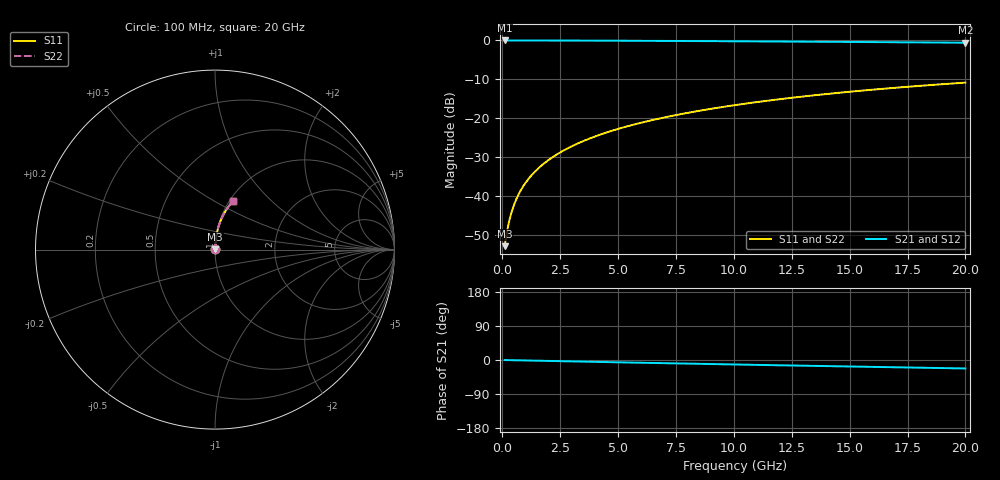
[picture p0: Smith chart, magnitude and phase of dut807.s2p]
! Touchstone file exported from HFSS 2024.1.0
!  File:  C:/UserFiles/LocalFiles/RDL_TSV_Batchsim/temp_RDL_bottom_807_1779862163.aedt
!  Generated:  02:12:08 PM May 27, 2026
!  Design:  RDL_bottom
!  Project:  temp_RDL_bottom_807_1779862163
!  Setup:  Setup1
!  Solution:  Sweep
! Variables:
!  dtsv = 10.80580581um
!  hbump = 3um
!  htsv = 53.53um
!  ldown = 243.13um
!  lrdl = 100um
!  p = 40
!  p1 = 54.78um
!  rhole = 1um
!  t = 450um
!  tdown = 4.04um
!  trdl = 3.915915916um
!  wdown = 13.75um
!  wrdl = 20um
# GHz S MA R 50.000000
! Terminal data exported
! Port[1] = RDL1_T1
! Port[2] = RDL1_T2
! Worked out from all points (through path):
!   200 points, 100 MHz to 20 GHz, reference 50 ohm
!   highest |S21| = -0.01 dB at 100 MHz (marker M1); lowest = -0.6 dB at 20 GHz (marker M2)
!   group delay of S21, straight-line fit = 3.09 ps
!   lowest |S11| = -53.0 dB at 100 MHz (marker M3), VSWR 1.00, Z = 50.2 + j0.15 ohm
!   |S11| at or under -10 dB: start of sweep to end of sweep
!   |S22| runs from -53.0 to -10.9 dB; largest |S21 - S12| = 4e-15
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0.1  0.002249 41.5  0.9983 -0.1  0.9983 -0.1  0.002249 41.5
! Gamma 0 0 0 0
! Port Impedance 50 0 50 0
0.2  0.003432 60.0  0.9983 -0.3  0.9983 -0.3  0.003432 60.0
0.3  0.004774 68.4  0.9982 -0.4  0.9982 -0.4  0.004774 68.4
0.4  0.006162 72.9  0.9982 -0.5  0.9982 -0.5  0.006162 72.9
0.5  0.007564 75.8  0.9981 -0.6  0.9981 -0.6  0.007564 75.8
0.6  0.008973 77.7  0.998 -0.8  0.998 -0.8  0.008973 77.7
0.8  0.0118 80.3  0.9979 -1.0  0.9979 -1.0  0.0118 80.3
1.1  0.01607 82.4  0.9977 -1.4  0.9977 -1.4  0.01607 82.4
1.5  0.02178 83.8  0.9973 -1.9  0.9973 -1.9  0.02178 83.8
1.8  0.02608 84.4  0.997 -2.2  0.997 -2.2  0.02608 84.4
2.1  0.0304 84.7  0.9966 -2.6  0.9966 -2.6  0.0304 84.7
2.7  0.03905 85.1  0.9957 -3.4  0.9957 -3.4  0.03905 85.1
3.5  0.05065 85.1  0.9943 -4.3  0.9943 -4.3  0.05065 85.1
4.2  0.06085 84.8  0.9927 -5.2  0.9927 -5.2  0.06085 84.8
5  0.07255 84.4  0.9908 -6.1  0.9908 -6.1  0.07255 84.4
5.9  0.08578 83.8  0.9883 -7.2  0.9883 -7.2  0.08578 83.8
6.8  0.09904 83.1  0.9856 -8.2  0.9856 -8.2  0.09904 83.1
8.3  0.1212 81.8  0.9808 -9.9  0.9808 -9.9  0.1212 81.8
10.1  0.1477 80.1  0.9746 -11.9  0.9746 -11.9  0.1477 80.1
13.4  0.1956 76.7  0.9622 -15.5  0.9622 -15.5  0.1956 76.7
16.7  0.242 73.3  0.9486 -19.0  0.9486 -19.0  0.242 73.3
20  0.2864 69.8  0.9339 -22.3  0.9339 -22.3  0.2864 69.8
